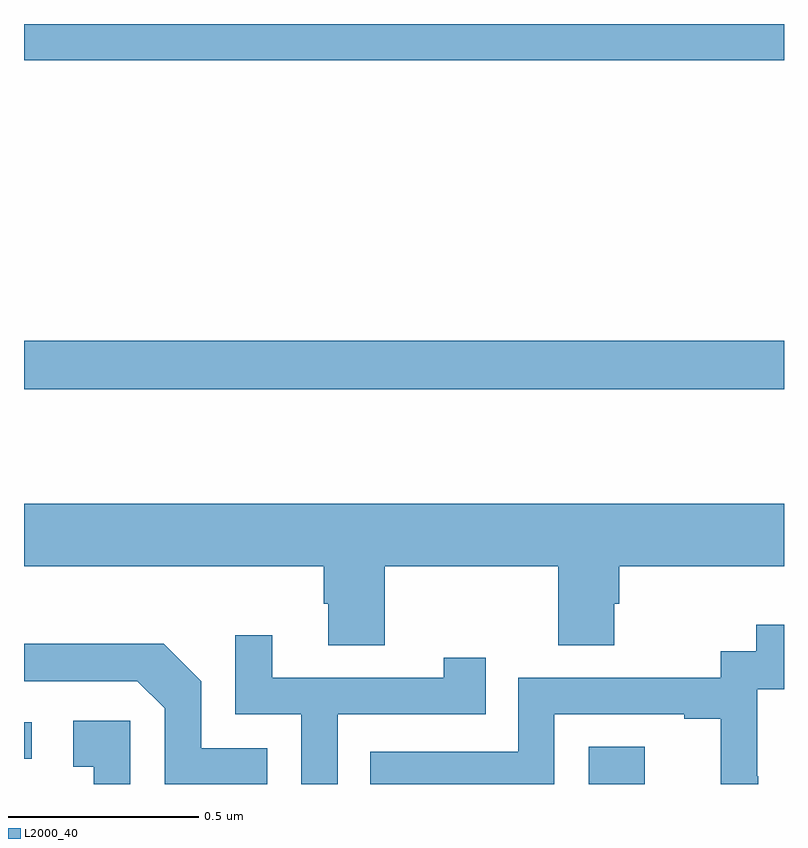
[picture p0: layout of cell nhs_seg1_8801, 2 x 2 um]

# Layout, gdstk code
import gdstk
lib = gdstk.Library(unit=1e-6, precision=1e-09)
def R(c, l, rs):  # rectangles x0, y0, x1, y1
    for r in rs: c.add(gdstk.rectangle(r[:2], r[2:], *l))
def P(c, l, *ps):  # polygons
    for p in ps: c.add(gdstk.Polygon(p, *l))
L2000_40 = (2000, 40)

nhs_seg1_8801 = lib.new_cell('nhs_seg1_8801')
R(nhs_seg1_8801, L2000_40, [(222.486,511.199,222.634,511.297), (221,511.266,221.02,511.362), (221,512.238,223,512.366), (221,513.104,223,513.199)])
P(nhs_seg1_8801, L2000_40, [(221.949,511.772),(222.406,511.772),(222.406,511.564),(222.553,511.564),(222.553,511.674),(222.566,511.674),(222.566,511.772),(223,511.772),(223,511.936),(221,511.936),(221,511.772),(221.789,511.772),(221.789,511.674),(221.801,511.674),(221.801,511.564),(221.949,511.564)],
  [(222.396,511.383),(222.737,511.383),(222.737,511.371),(222.833,511.371),(222.833,511.199),(222.932,511.199),(222.932,511.22),(222.93,511.22),(222.93,511.449),(223,511.449),(223,511.618),(222.927,511.618),(222.927,511.548),(222.834,511.548),(222.834,511.479),(222.3,511.479),(222.3,511.284),(221.911,511.284),(221.911,511.199),(222.396,511.199)],
  [(221.826,511.383),(222.215,511.383),(222.215,511.531),(222.104,511.531),(222.104,511.479),(221.653,511.479),(221.653,511.591),(221.556,511.591),(221.556,511.383),(221.73,511.383),(221.73,511.199),(221.826,511.199)],
  [(221.64,511.293),(221.466,511.293),(221.466,511.47),(221.368,511.568),(221,511.568),(221,511.47),(221.298,511.47),(221.37,511.398),(221.37,511.199),(221.64,511.199)],
  [(221.28,511.366),(221.13,511.366),(221.13,511.245),(221.183,511.245),(221.183,511.199),(221.28,511.199)])

lib.write_gds('nhs_seg1_8801.gds')
